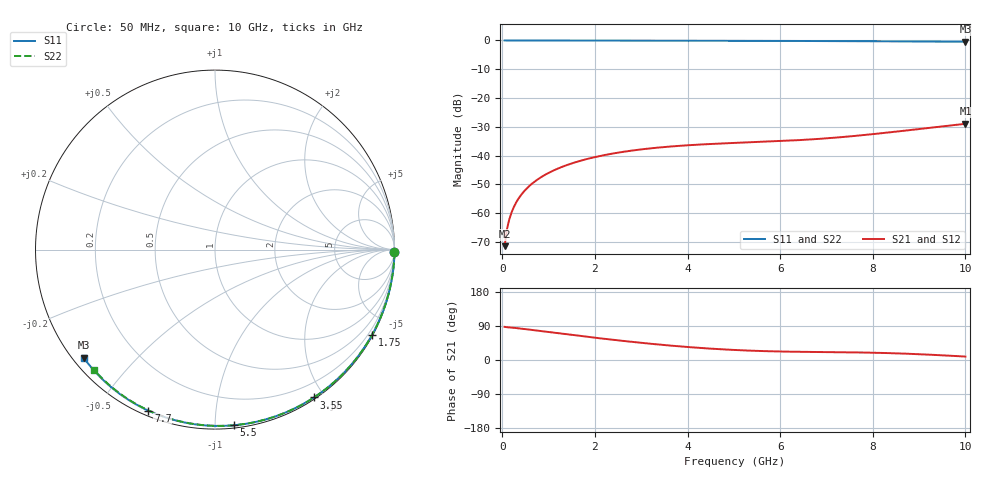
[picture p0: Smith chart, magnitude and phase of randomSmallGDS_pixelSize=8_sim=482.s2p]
! freq	dB(S11)	phase(S11)	dB(S12)	phase(S12)
!  dB(S21)	phase(S21)	dB(S22)	phase(S22)
!S-par simulation data
#  GHz  S  DB  R 50
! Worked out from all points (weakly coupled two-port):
!   200 points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, 50 MHz to 10 GHz, reference 50 ohm
!   highest |S21| = -28.94 dB at 10 GHz (marker M1); lowest = -71.4 dB at 50 MHz (marker M2)
!   lowest |S11| = -0.5 dB at 10 GHz (marker M3), VSWR 37.22, Z = 1.52 - j17.9 ohm
!   |S11| at or under -10 dB: nowhere
!   |S22| runs from -0.4 to 0.0 dB; largest |S21 - S12| = 0
!   S11 on the Smith chart (normalised r, x): 50 MHz: open; 1.75 GHz: 0.03, -3.95; 3.55 GHz: 0.02, -1.87; 5.5 GHz: 0.02, -1.11; 7.7 GHz: 0.02, -0.67; 10 GHz: 0.03, -0.36
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0.05  -0.00 -0.8  -71.43 87.5  -71.43 87.5  -0.00 -0.8
0.1  -0.00 -1.7  -65.60 86.6  -65.60 86.6  -0.00 -1.6
0.15  -0.00 -2.5  -62.18 86.1  -62.18 86.1  -0.00 -2.4
0.2  -0.00 -3.3  -59.73 85.5  -59.73 85.5  -0.00 -3.2
0.25  -0.00 -4.1  -57.82 84.9  -57.82 84.9  -0.00 -4.0
0.35  -0.00 -5.8  -54.93 83.6  -54.93 83.6  -0.00 -5.6
0.5  -0.01 -8.2  -51.87 81.4  -51.87 81.4  -0.01 -7.9
0.7  -0.01 -11.5  -48.99 78.4  -48.99 78.4  -0.01 -11.1
1  -0.02 -16.4  -45.99 73.8  -45.99 73.8  -0.02 -15.8
1.35  -0.03 -22.0  -43.53 68.5  -43.53 68.5  -0.03 -21.2
1.75  -0.04 -28.4  -41.50 62.5  -41.50 62.5  -0.03 -27.4
2.5  -0.05 -40.2  -38.95 51.8  -38.95 51.8  -0.05 -38.7
3.4  -0.07 -53.9  -37.15 40.6  -37.15 40.6  -0.07 -52.0
3.55  -0.08 -56.2  -36.93 38.9  -36.93 38.9  -0.07 -54.1
4.3  -0.10 -67.2  -36.11 31.6  -36.11 31.6  -0.09 -64.7
5.05  -0.12 -77.8  -35.56 26.3  -35.56 26.3  -0.11 -74.9
5.5  -0.14 -83.9  -35.28 24.0  -35.28 24.0  -0.13 -80.9
6.7  -0.19 -99.8  -34.33 21.2  -34.33 21.2  -0.18 -96.2
7.7  -0.25 -112.5  -33.02 19.9  -33.02 19.9  -0.24 -108.4
8.35  -0.30 -120.5  -31.93 18.2  -31.93 18.2  -0.29 -116.1
9.2  -0.38 -130.8  -30.40 14.2  -30.40 14.2  -0.36 -126.0
10  -0.47 -140.5  -28.94 9.0  -28.94 9.0  -0.45 -135.1
